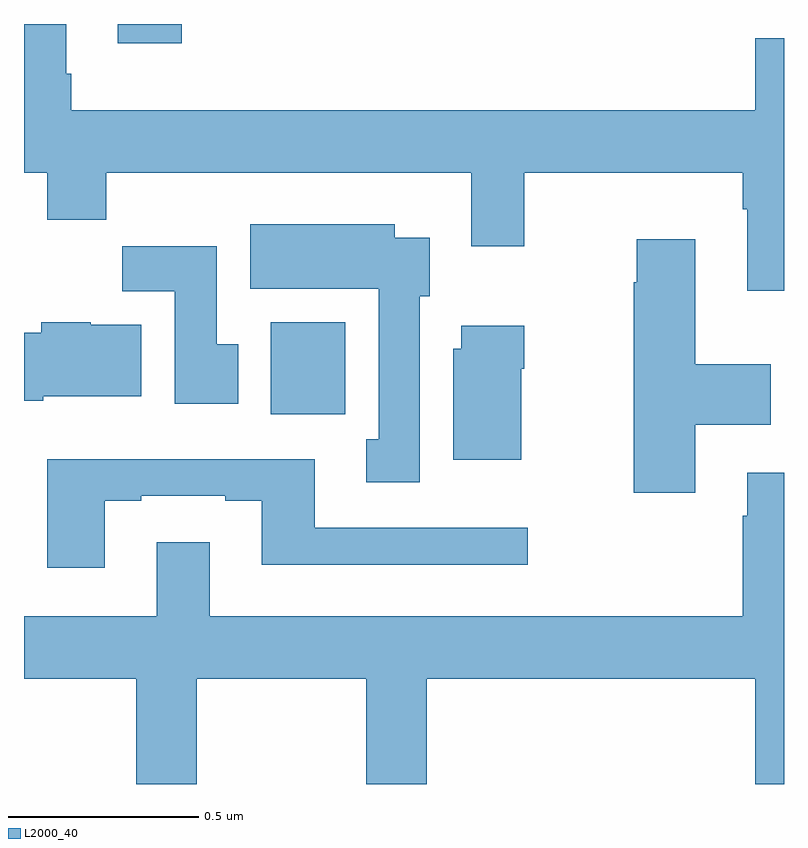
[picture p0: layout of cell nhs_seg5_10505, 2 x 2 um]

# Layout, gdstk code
import gdstk
lib = gdstk.Library(unit=1e-6, precision=1e-09)
def R(c, l, rs):  # rectangles x0, y0, x1, y1
    for r in rs: c.add(gdstk.rectangle(r[:2], r[2:], *l))
def P(c, l, *ps):  # polygons
    for p in ps: c.add(gdstk.Polygon(p, *l))
L2000_40 = (2000, 40)

nhs_seg5_10505 = lib.new_cell('nhs_seg5_10505')
R(nhs_seg5_10505, L2000_40, [(247.649,874.772,247.846,875.014), (247.247,875.748,247.415,875.799)])
P(nhs_seg5_10505, L2000_40, [(249,875.761),(248.924,875.761),(248.924,875.572),(247.124,875.572),(247.124,875.668),(247.111,875.668),(247.111,875.799),(247,875.799),(247,875.408),(247.061,875.408),(247.061,875.284),(247.217,875.284),(247.217,875.408),(248.177,875.408),(248.177,875.214),(248.317,875.214),(248.317,875.408),(248.891,875.408),(248.891,875.312),(248.903,875.312),(248.903,875.097),(249,875.097)],
  [(248.041,875.082),(248.068,875.082),(248.068,875.236),(247.975,875.236),(247.975,875.272),(247.595,875.272),(247.595,875.102),(247.934,875.102),(247.934,874.706),(247.901,874.706),(247.901,874.593),(248.041,874.593)],
  [(248.767,874.745),(248.965,874.745),(248.965,874.903),(248.767,874.903),(248.767,875.233),(248.612,875.233),(248.612,875.12),(248.605,875.12),(248.605,874.566),(248.767,874.566)],
  [(247.564,874.956),(247.507,874.956),(247.507,875.214),(247.258,875.214),(247.258,875.096),(247.397,875.096),(247.397,874.8),(247.564,874.8)],
  [(247.051,874.82),(247.309,874.82),(247.309,875.008),(247.176,875.008),(247.176,875.014),(247.046,875.014),(247.046,874.986),(247,874.986),(247,874.808),(247.051,874.808)],
  [(248.308,874.892),(248.316,874.892),(248.316,875.005),(248.15,875.005),(248.15,874.944),(248.129,874.944),(248.129,874.652),(248.308,874.652)],
  [(247.213,874.545),(247.309,874.545),(247.309,874.557),(247.529,874.557),(247.529,874.545),(247.625,874.545),(247.625,874.376),(248.326,874.376),(248.326,874.473),(247.765,874.473),(247.765,874.654),(247.061,874.654),(247.061,874.368),(247.213,874.368)],
  [(247.455,874.076),(247.9,874.076),(247.9,873.799),(248.06,873.799),(248.06,874.076),(248.924,874.076),(248.924,873.799),(249,873.799),(249,874.618),(248.903,874.618),(248.903,874.505),(248.891,874.505),(248.891,874.24),(247.489,874.24),(247.489,874.435),(247.349,874.435),(247.349,874.24),(247,874.24),(247,874.076),(247.295,874.076),(247.295,873.799),(247.455,873.799)])

lib.write_gds('nhs_seg5_10505.gds')
